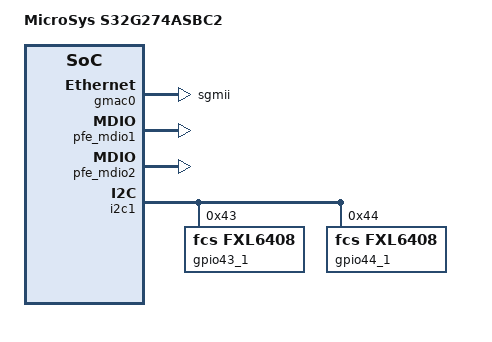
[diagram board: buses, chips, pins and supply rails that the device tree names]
/*
 * Copyright (C) 2022 MicroSys Electronics GmbH
 *
 * SPDX-License-Identifier: BSD-3-Clause
 */
/dts-v1/;
#include "mpxs32g274a.dtsi"

/ {
	model = "MicroSys S32G274ASBC2";
};

&gmac0 {
	status = "okay";
	phy-mode = "sgmii";
};

&pfe_mdio1 {
	status = "okay";
};

&pfe_mdio2 {
	status = "okay";
};

&i2c1 {
	status = "okay";

	gpio43_1: gpio@43_1 {
		compatible = "fcs,fxl6408";
		reg = <0x43>;
		#gpio-cells = <2>;
		gpio-bank-name = "crx0-";
		direction = [40];
		input-default-state = [3e];
		output-default-state = [00];
		pull-config = [00 3e]; /* pull-enable / pull-up/down */
		u-boot,i2c-offset-len = <1>; /* one address byte */
		/*
		 * Pin             Function           Direction    Polarity    State
		 * =================================================================
		 * GPIO0           SJA1124_STAT       in           high        low
		 * GPIO1           SJA1124_INT#       in           low         high
		 * GPIO2           AETH_IRQ#          in           low         high
		 * GPIO3           AETH_RST_CORE#     in           low         high
		 * GPIO4           LAN_IRQ#           in           low         high
		 * GPIO5           SD_CD#             in           low         high
		 * GPIO6           LIN_SLP            out          high        low
		 * GPIO7           n/c                xxx          xxx         xxx
		 *
		 * Note: GPIO7 was CAN_STB on Rev.1. This function has been moved to GPIO7 at GPIO@44
		 * below. There this pin is called STBY_ON# with reversed polarity!
		 */
	};

	gpio44_1: gpio@44_1 {
		compatible = "fcs,fxl6408";
		reg = <0x44>;
		#gpio-cells = <2>;
		gpio-bank-name = "crx1-";
		direction = [c1];
		input-default-state = [00];

		/*
		 * Bit 0: SERDES_SEL
		 *
		 * Selects where the SerDes lanes of SerDes_1 are routed to:
		 * --------------------------------------------------------------------------------
		 *
		 * 0 - PHY lane 0 is SGMII 3.125Gbps (PFE_MAC0) => SJA1110 P4 with 2.5Gb
		 *     PHY lane 1 is not available
		 *     This setting needs PCIe1/SGMII CLK of 125MHz.
		 * 1 - PHY lane 0 is PCIe1_X1 => M.2 slot
		 *     PHY lane 1 is SGMII 1.25Gbps (PFE_MAC0 or PFE_MAC1) => SJA1110 P4 with 1Gb
		 *     This setting needs PCIe1/SGMII CLK of 100MHz.
		 *
		 *     The default is 1.
		 */
		output-default-state = [c1];

		pull-config = [80 c1]; /* pull-enable / pull-up/down */
		u-boot,i2c-offset-len = <1>; /* one address byte */
		/*
		 * Pin             Function           Direction    Polarity    State
		 * =================================================================
		 * GPIO0           SERDES_SEL         out          high        high
		 * GPIO1           n/c                xxx          xxx         xxx
		 * GPIO2           n/c                xxx          xxx         xxx
		 * GPIO3           n/c                xxx          xxx         xxx
		 * GPIO4           n/c                xxx          xxx         xxx
		 * GPIO5           n/c                xxx          xxx         xxx
		 * GPIO6           CANSIC_EN          out          high        high
		 * GPIO7           STBY_ON#           out          low         high
		 *
		 * Note 1: STBY_ON# was GPIO7 at GPIO@43 above on Rev.1. There this pin was called
		 * CAN_STB with reversed polarity!
		 *
		 * Note 2: STBY_ON# controlls whether the CAN-bus tranceivers are in standby mode.
		 * If STBY_ON# is high the transceivers are active and functional.
		 */
	};
};
